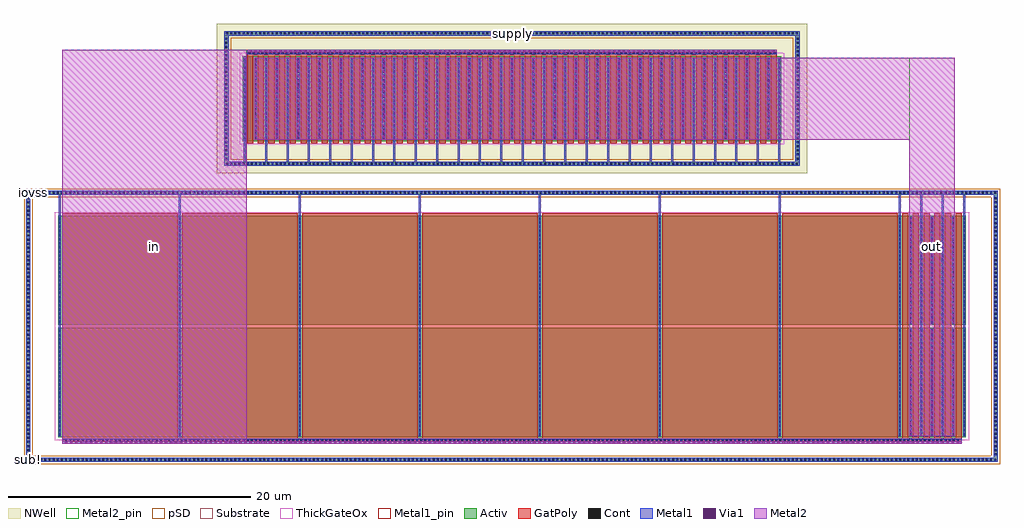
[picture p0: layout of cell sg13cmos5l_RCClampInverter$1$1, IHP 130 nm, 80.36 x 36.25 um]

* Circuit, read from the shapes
.subckt sg13cmos5l_RCClampInverter$1$1 in iovss out supply
XM1 iovss in iovss iovss sg13_hv_nmos w=9u l=9.5u m=14
XM2 out in iovss iovss sg13_hv_nmos w=9u l=0.5u m=12
XM3 out in supply supply sg13_hv_pmos w=7u l=0.5u m=50
.ends

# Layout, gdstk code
import gdstk
lib = gdstk.Library(unit=1e-6, precision=1e-09)
def R(c, l, rs):  # rectangles x0, y0, x1, y1
    for r in rs: c.add(gdstk.rectangle(r[:2], r[2:], *l))
def A(c, l, x, y, w, h, nx, ny, dx, dy):  # array of equal rectangles
    R(c, l, [(x+i*dx, y+j*dy, x+i*dx+w, y+j*dy+h) for i in range(nx) for j in range(ny)])
def P(c, l, *ps):  # polygons
    for p in ps: c.add(gdstk.Polygon(p, *l))
Activ = (1, 0)
GatPoly = (5, 0)
Cont = (6, 0)
Metal1 = (8, 0)
Metal1_pin = (8, 2)
Metal2 = (10, 0)
Metal2_pin = (10, 2)
pSD = (14, 0)
Via1 = (19, 0)
NWell = (31, 0)
Substrate = (40, 0)
ThickGateOx = (44, 0)

sg13cmos5l_rcclampinvert = lib.new_cell('sg13cmos5l_RCClampInverter$1$1')
R(sg13cmos5l_rcclampinvert, Activ, [(2.63,2.04,77.37,11.04), (2.63,11.29,77.37,20.29), (17.85,26.41,62.15,33.41)])
P(sg13cmos5l_rcclampinvert, Activ, [(0,0),(0,21.99),(0.34,21.99),(0.34,0.34),(79.66,0.34),(79.66,21.99),(0,21.99),(0,22.33),(80,22.33),(80,0)],
  [(16.32,24.37),(16.32,35.11),(16.66,35.11),(16.66,24.71),(63.34,24.71),(63.34,35.11),(16.32,35.11),(16.32,35.45),(63.68,35.45),(63.68,24.37)])
P(sg13cmos5l_rcclampinvert, GatPoly, [(18.19,26.23),(18.19,33.78),(40,33.78),(40,33.48),(39.81,33.48),(39.81,26.23),(39.31,26.23),(39.31,33.48),(38.93,33.48),(38.93,26.23),(38.43,26.23),(38.43,33.48),(38.05,33.48),(38.05,26.23),(37.55,26.23),(37.55,33.48),(37.17,33.48),(37.17,26.23),(36.67,26.23),(36.67,33.48),(36.29,33.48),(36.29,26.23),(35.79,26.23),(35.79,33.48),(35.41,33.48),(35.41,26.23),(34.91,26.23),(34.91,33.48),(34.53,33.48),(34.53,26.23),(34.03,26.23),(34.03,33.48),(33.65,33.48),(33.65,26.23),(33.15,26.23),(33.15,33.48),(32.77,33.48),(32.77,26.23),(32.27,26.23),(32.27,33.48),(31.89,33.48),(31.89,26.23),(31.39,26.23),(31.39,33.48),(31.01,33.48),(31.01,26.23),(30.51,26.23),(30.51,33.48),(30.13,33.48),(30.13,26.23),(29.63,26.23),(29.63,33.48),(29.25,33.48),(29.25,26.23),(28.75,26.23),(28.75,33.48),(28.37,33.48),(28.37,26.23),(27.87,26.23),(27.87,33.48),(27.49,33.48),(27.49,26.23),(26.99,26.23),(26.99,33.48),(26.61,33.48),(26.61,26.23),(26.11,26.23),(26.11,33.48),(25.73,33.48),(25.73,26.23),(25.23,26.23),(25.23,33.48),(24.85,33.48),(24.85,26.23),(24.35,26.23),(24.35,33.48),(23.97,33.48),(23.97,26.23),(23.47,26.23),(23.47,33.48),(23.09,33.48),(23.09,26.23),(22.59,26.23),(22.59,33.48),(22.21,33.48),(22.21,26.23),(21.71,26.23),(21.71,33.48),(21.33,33.48),(21.33,26.23),(20.83,26.23),(20.83,33.48),(20.45,33.48),(20.45,26.23),(19.95,26.23),(19.95,33.48),(19.57,33.48),(19.57,26.23),(19.07,26.23),(19.07,33.48),(18.69,33.48),(18.69,26.23)],
  [(40.19,26.23),(40.19,33.48),(40,33.48),(40,33.78),(61.81,33.78),(61.81,26.23),(61.31,26.23),(61.31,33.48),(60.93,33.48),(60.93,26.23),(60.43,26.23),(60.43,33.48),(60.05,33.48),(60.05,26.23),(59.55,26.23),(59.55,33.48),(59.17,33.48),(59.17,26.23),(58.67,26.23),(58.67,33.48),(58.29,33.48),(58.29,26.23),(57.79,26.23),(57.79,33.48),(57.41,33.48),(57.41,26.23),(56.91,26.23),(56.91,33.48),(56.53,33.48),(56.53,26.23),(56.03,26.23),(56.03,33.48),(55.65,33.48),(55.65,26.23),(55.15,26.23),(55.15,33.48),(54.77,33.48),(54.77,26.23),(54.27,26.23),(54.27,33.48),(53.89,33.48),(53.89,26.23),(53.39,26.23),(53.39,33.48),(53.01,33.48),(53.01,26.23),(52.51,26.23),(52.51,33.48),(52.13,33.48),(52.13,26.23),(51.63,26.23),(51.63,33.48),(51.25,33.48),(51.25,26.23),(50.75,26.23),(50.75,33.48),(50.37,33.48),(50.37,26.23),(49.87,26.23),(49.87,33.48),(49.49,33.48),(49.49,26.23),(48.99,26.23),(48.99,33.48),(48.61,33.48),(48.61,26.23),(48.11,26.23),(48.11,33.48),(47.73,33.48),(47.73,26.23),(47.23,26.23),(47.23,33.48),(46.85,33.48),(46.85,26.23),(46.35,26.23),(46.35,33.48),(45.97,33.48),(45.97,26.23),(45.47,26.23),(45.47,33.48),(45.09,33.48),(45.09,26.23),(44.59,26.23),(44.59,33.48),(44.21,33.48),(44.21,26.23),(43.71,26.23),(43.71,33.48),(43.33,33.48),(43.33,26.23),(42.83,26.23),(42.83,33.48),(42.45,33.48),(42.45,26.23),(41.95,26.23),(41.95,33.48),(41.57,33.48),(41.57,26.23),(41.07,26.23),(41.07,33.48),(40.69,33.48),(40.69,26.23)],
  [(2.97,1.67),(2.97,20.47),(12.47,20.47),(12.47,1.97),(12.85,1.97),(12.85,20.47),(22.35,20.47),(22.35,1.97),(22.73,1.97),(22.73,20.47),(32.23,20.47),(32.23,1.97),(32.61,1.97),(32.61,20.47),(42.11,20.47),(42.11,1.97),(42.49,1.97),(42.49,20.47),(51.99,20.47),(51.99,1.97),(52.37,1.97),(52.37,20.47),(61.87,20.47),(61.87,1.97),(62.25,1.97),(62.25,20.47),(71.75,20.47),(71.75,1.97),(72.13,1.97),(72.13,20.47),(72.63,20.47),(72.63,1.97),(73.01,1.97),(73.01,20.47),(73.51,20.47),(73.51,1.97),(73.89,1.97),(73.89,20.47),(74.39,20.47),(74.39,1.97),(74.77,1.97),(74.77,20.47),(75.27,20.47),(75.27,1.97),(75.65,1.97),(75.65,20.47),(76.15,20.47),(76.15,1.97),(76.53,1.97),(76.53,20.47),(77.03,20.47),(77.03,1.67)])
A(sg13cmos5l_rcclampinvert, Cont, 0.14, 0.09, 0.16, 0.16, 235, 2, 0.34, 21.99)
A(sg13cmos5l_rcclampinvert, Cont, 0.09, 0.545, 0.16, 0.16, 1, 63, 0, 0.34)
A(sg13cmos5l_rcclampinvert, Cont, 79.75, 0.545, 0.16, 0.16, 1, 63, 0, 0.34)
A(sg13cmos5l_rcclampinvert, Cont, 3.2, 1.74, 0.16, 0.16, 217, 1, 0.34, 0)
A(sg13cmos5l_rcclampinvert, Cont, 2.7, 2.21, 0.16, 0.16, 8, 26, 9.88, 0.34)
A(sg13cmos5l_rcclampinvert, Cont, 72.74, 2.21, 0.16, 0.16, 6, 26, 0.88, 0.34)
A(sg13cmos5l_rcclampinvert, Cont, 2.7, 11.46, 0.16, 0.16, 8, 26, 9.88, 0.34)
A(sg13cmos5l_rcclampinvert, Cont, 72.74, 11.46, 0.16, 0.16, 6, 26, 0.88, 0.34)
A(sg13cmos5l_rcclampinvert, Cont, 16.46, 24.46, 0.16, 0.16, 139, 2, 0.34, 10.74)
A(sg13cmos5l_rcclampinvert, Cont, 16.41, 24.9, 0.16, 0.16, 1, 30, 0, 0.34)
A(sg13cmos5l_rcclampinvert, Cont, 63.43, 24.9, 0.16, 0.16, 1, 30, 0, 0.34)
A(sg13cmos5l_rcclampinvert, Cont, 17.92, 26.6, 0.16, 0.16, 51, 20, 0.88, 0.34)
A(sg13cmos5l_rcclampinvert, Cont, 18.33, 33.55, 0.16, 0.16, 128, 1, 0.34, 0)
A(sg13cmos5l_rcclampinvert, Metal1, 2.7, 2.13, 0.16, 20.2, 8, 1, 9.88, 0)
A(sg13cmos5l_rcclampinvert, Metal1, 72.715, 2.13, 0.21, 8.82, 3, 2, 1.76, 9.25)
A(sg13cmos5l_rcclampinvert, Metal1, 73.62, 2.13, 0.16, 20.2, 3, 1, 1.76, 0)
A(sg13cmos5l_rcclampinvert, Metal1, 17.92, 24.37, 0.16, 8.93, 26, 1, 1.76, 0)
A(sg13cmos5l_rcclampinvert, Metal1, 18.775, 26.52, 0.21, 6.78, 25, 1, 1.76, 0)
R(sg13cmos5l_rcclampinvert, Metal1, [(2.97,1.505,77.03,1.9), (18.19,33.55,61.81,33.925), (16.32,35.11,63.68,35.45)])
P(sg13cmos5l_rcclampinvert, Metal1, [(0,0),(0,21.99),(0.34,21.99),(0.34,0.34),(79.66,0.34),(79.66,21.99),(0,21.99),(0,22.33),(80,22.33),(80,0)],
  [(16.32,24.37),(16.32,35.11),(16.66,35.11),(16.66,24.71),(63.34,24.71),(63.34,35.11),(16.32,35.11),(16.32,35.45),(63.68,35.45),(63.68,24.37)])
R(sg13cmos5l_rcclampinvert, Metal1_pin, [(0.09,22.03,1.14,22.28), (16.32,35.11,63.68,35.45)])
P(sg13cmos5l_rcclampinvert, Metal2, [(2.97,1.51),(2.97,33.92),(61.81,33.92),(61.81,33.72),(18.15,33.72),(18.15,1.71),(77.03,1.71),(77.03,1.51)],
  [(72.72,2.13),(72.72,26.52),(18.78,26.52),(18.78,33.3),(76.44,33.3),(76.44,2.13)])
R(sg13cmos5l_rcclampinvert, Metal2_pin, [(2.97,1.51,18.15,33.92), (72.72,2.13,76.44,33.3)])
R(sg13cmos5l_rcclampinvert, pSD, [(16.84,24.89,63.16,34.93), (17.67,26.01,62.33,33.81)])
P(sg13cmos5l_rcclampinvert, pSD, [(-0.18,-0.18),(-0.18,21.81),(0.52,21.81),(0.52,0.52),(79.48,0.52),(79.48,21.81),(-0.18,21.81),(-0.18,22.51),(80.18,22.51),(80.18,-0.18)])
A(sg13cmos5l_rcclampinvert, Via1, 3.21, 1.515, 0.19, 0.19, 180, 1, 0.41, 0)
A(sg13cmos5l_rcclampinvert, Via1, 72.725, 2.345, 0.19, 0.19, 3, 21, 1.76, 0.41)
A(sg13cmos5l_rcclampinvert, Via1, 72.725, 11.595, 0.19, 0.19, 3, 21, 1.76, 0.41)
A(sg13cmos5l_rcclampinvert, Via1, 18.785, 26.74, 0.19, 0.19, 25, 16, 1.76, 0.41)
A(sg13cmos5l_rcclampinvert, Via1, 18.38, 33.725, 0.19, 0.19, 106, 1, 0.41, 0)
A(sg13cmos5l_rcclampinvert, NWell, 17.23, 25.79, 1.54, 8.24, 49, 1, 0.88, 0)
R(sg13cmos5l_rcclampinvert, NWell, [(15.7,23.75,64.3,36.07), (17.34,25.79,62.66,34.03), (60.35,25.79,62.77,34.03)])
P(sg13cmos5l_rcclampinvert, Substrate, [(0,0),(0,21.99),(0.34,21.99),(0.34,0.34),(79.66,0.34),(79.66,21.99),(0,21.99),(0,22.33),(80,22.33),(80,0)])
P(sg13cmos5l_rcclampinvert, ThickGateOx, [(2.47,1.77),(2.47,1.78),(2.36,1.78),(2.36,20.55),(2.47,20.55),(2.47,20.56),(77.53,20.56),(77.53,20.55),(77.64,20.55),(77.64,1.78),(77.53,1.78),(77.53,1.77)],
  [(17.69,26.14),(17.69,26.15),(17.58,26.15),(17.58,33.67),(17.69,33.67),(17.69,33.68),(62.31,33.68),(62.31,33.67),(62.42,33.67),(62.42,26.15),(62.31,26.15),(62.31,26.14)])
sg13cmos5l_rcclampinvert.add(gdstk.Label('supply', (40,35.28), layer=8, texttype=25))
sg13cmos5l_rcclampinvert.add(gdstk.Label('iovss', (0.61,22.16), layer=8, texttype=25))
sg13cmos5l_rcclampinvert.add(gdstk.Label('sub!', (0.17,0.17), layer=63, texttype=0))
sg13cmos5l_rcclampinvert.add(gdstk.Label('in', (10.56,17.715), layer=10, texttype=25))
sg13cmos5l_rcclampinvert.add(gdstk.Label('out', (74.58,17.715), layer=10, texttype=25))

lib.write_gds('sg13cmos5l_RCClampInverter_1_1.gds')
